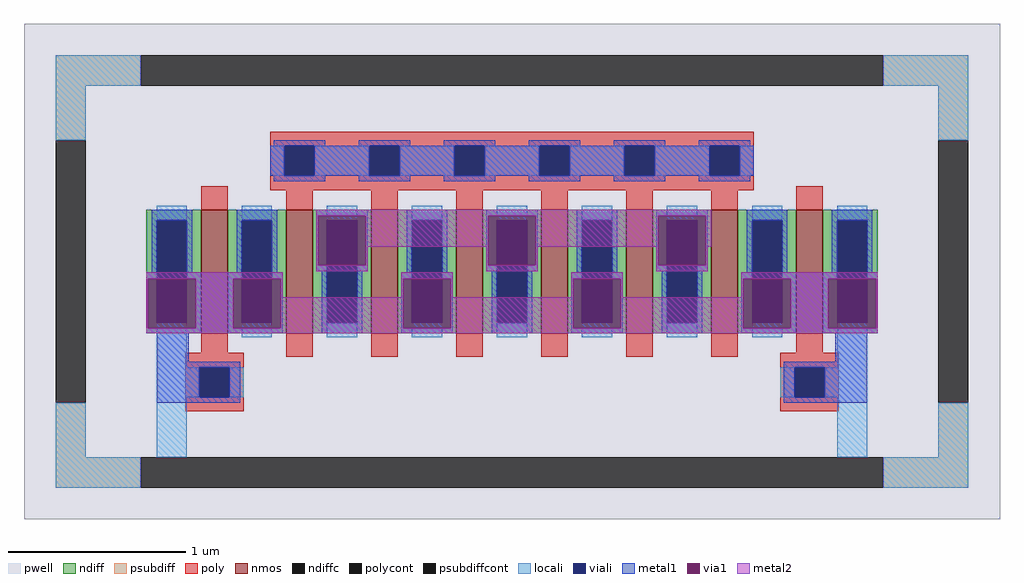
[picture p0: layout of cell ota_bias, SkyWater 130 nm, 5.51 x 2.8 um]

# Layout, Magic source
magic
tech sky130A
magscale 1 2
<< pwell >>
rect -551 -280 551 280
<< nmos >>
rect -351 -70 -321 70
rect -255 -70 -225 70
rect -159 -70 -129 70
rect -63 -70 -33 70
rect 33 -70 63 70
rect 129 -70 159 70
rect 225 -70 255 70
rect 321 -70 351 70
<< ndiff >>
rect -413 58 -351 70
rect -413 -58 -401 58
rect -367 -58 -351 58
rect -413 -70 -351 -58
rect -321 58 -255 70
rect -321 -58 -305 58
rect -271 -58 -255 58
rect -321 -70 -255 -58
rect -225 58 -159 70
rect -225 -58 -209 58
rect -175 -58 -159 58
rect -225 -70 -159 -58
rect -129 58 -63 70
rect -129 -58 -113 58
rect -79 -58 -63 58
rect -129 -70 -63 -58
rect -33 58 33 70
rect -33 -58 -17 58
rect 17 -58 33 58
rect -33 -70 33 -58
rect 63 58 129 70
rect 63 -58 79 58
rect 113 -58 129 58
rect 63 -70 129 -58
rect 159 58 225 70
rect 159 -58 175 58
rect 209 -58 225 58
rect 159 -70 225 -58
rect 255 58 321 70
rect 255 -58 271 58
rect 305 -58 321 58
rect 255 -70 321 -58
rect 351 58 413 70
rect 351 -58 367 58
rect 401 -58 413 58
rect 351 -70 413 -58
<< ndiffc >>
rect -401 -58 -367 58
rect -305 -58 -271 58
rect -209 -58 -175 58
rect -113 -58 -79 58
rect -17 -58 17 58
rect 79 -58 113 58
rect 175 -58 209 58
rect 271 -58 305 58
rect 367 -58 401 58
<< psubdiff >>
rect -515 210 -419 244
rect 419 210 515 244
rect -515 148 -481 210
rect 481 148 515 210
rect -515 -210 -481 -148
rect 481 -210 515 -148
rect -515 -244 -419 -210
rect 419 -244 515 -210
<< psubdiffcont >>
rect -419 210 419 244
rect -515 -148 -481 148
rect 481 -148 515 148
rect -419 -244 419 -210
<< poly >>
rect -273 142 273 158
rect -273 108 -257 142
rect -223 108 -161 142
rect -127 108 -65 142
rect -31 108 31 142
rect 65 108 127 142
rect 161 108 223 142
rect 257 108 273 142
rect -351 70 -321 96
rect -273 92 273 108
rect -255 70 -225 92
rect -159 70 -129 92
rect -63 70 -33 92
rect 33 70 63 92
rect 129 70 159 92
rect 225 70 255 92
rect 321 70 351 96
rect -351 -92 -321 -70
rect -369 -108 -303 -92
rect -255 -96 -225 -70
rect -159 -96 -129 -70
rect -63 -96 -33 -70
rect 33 -96 63 -70
rect 129 -96 159 -70
rect 225 -96 255 -70
rect 321 -92 351 -70
rect -369 -142 -353 -108
rect -319 -142 -303 -108
rect -369 -158 -303 -142
rect 303 -108 369 -92
rect 303 -142 319 -108
rect 353 -142 369 -108
rect 303 -158 369 -142
<< polycont >>
rect -257 108 -223 142
rect -161 108 -127 142
rect -65 108 -31 142
rect 31 108 65 142
rect 127 108 161 142
rect 223 108 257 142
rect -353 -142 -319 -108
rect 319 -142 353 -108
<< locali >>
rect -515 210 -419 244
rect 419 210 515 244
rect -515 148 -481 210
rect 481 148 515 210
rect -273 108 -257 142
rect -223 108 -161 142
rect -127 108 -65 142
rect -31 108 31 142
rect 65 108 127 142
rect 161 108 223 142
rect 257 108 273 142
rect -515 -210 -481 -148
rect -401 58 -367 74
rect -401 -108 -367 -58
rect -305 58 -271 74
rect -305 -74 -271 -58
rect -209 58 -175 74
rect -209 -74 -175 -58
rect -113 58 -79 74
rect -113 -74 -79 -58
rect -17 58 17 74
rect -17 -74 17 -58
rect 79 58 113 74
rect 79 -74 113 -58
rect 175 58 209 74
rect 175 -74 209 -58
rect 271 58 305 74
rect 271 -74 305 -58
rect 367 58 401 74
rect 367 -108 401 -58
rect -401 -142 -353 -108
rect -319 -142 -303 -108
rect 303 -142 319 -108
rect 353 -142 401 -108
rect -401 -210 -367 -142
rect 367 -210 401 -142
rect 481 -210 515 -148
rect -515 -244 -419 -210
rect 419 -244 515 -210
<< viali >>
rect -257 108 -223 142
rect -161 108 -127 142
rect -65 108 -31 142
rect 31 108 65 142
rect 127 108 161 142
rect 223 108 257 142
rect -401 -58 -367 58
rect -305 -58 -271 58
rect -209 -58 -175 58
rect -113 -58 -79 58
rect -17 -58 17 58
rect 79 -58 113 58
rect 175 -58 209 58
rect 271 -58 305 58
rect 367 -58 401 58
rect -353 -142 -319 -108
rect 319 -142 353 -108
<< metal1 >>
rect -269 142 -211 148
rect -173 142 -115 148
rect -77 142 -19 148
rect 19 142 77 148
rect 115 142 173 148
rect 211 142 269 148
rect -273 108 -257 142
rect -223 108 -161 142
rect -127 108 -65 142
rect -31 108 31 142
rect 65 108 127 142
rect 161 108 223 142
rect 257 108 273 142
rect -269 102 -211 108
rect -173 102 -115 108
rect -77 102 -19 108
rect 19 102 77 108
rect 115 102 173 108
rect 211 102 269 108
rect -407 58 -361 70
rect -407 -1 -401 58
rect -413 -8 -401 -1
rect -367 -1 -361 58
rect -311 58 -265 70
rect -311 -1 -305 58
rect -367 -8 -305 -1
rect -271 -1 -265 58
rect -221 63 -163 70
rect -221 7 -219 63
rect -165 7 -163 63
rect -221 0 -209 7
rect -271 -8 -259 -1
rect -413 -64 -411 -8
rect -357 -64 -315 -8
rect -261 -64 -259 -8
rect -413 -70 -259 -64
rect -215 -58 -209 0
rect -175 0 -163 7
rect -119 58 -73 70
rect -175 -58 -169 0
rect -119 -1 -113 58
rect -215 -70 -169 -58
rect -125 -8 -113 -1
rect -79 -1 -73 58
rect -29 63 29 70
rect -29 7 -27 63
rect 27 7 29 63
rect -29 0 -17 7
rect -79 -8 -67 -1
rect -125 -64 -123 -8
rect -69 -64 -67 -8
rect -125 -70 -67 -64
rect -23 -58 -17 0
rect 17 0 29 7
rect 73 58 119 70
rect 17 -58 23 0
rect 73 -1 79 58
rect -23 -70 23 -58
rect 67 -8 79 -1
rect 113 -1 119 58
rect 163 63 221 70
rect 163 7 165 63
rect 219 7 221 63
rect 163 0 175 7
rect 113 -8 125 -1
rect 67 -64 69 -8
rect 123 -64 125 -8
rect 67 -70 125 -64
rect 169 -58 175 0
rect 209 0 221 7
rect 265 58 311 70
rect 209 -58 215 0
rect 265 -1 271 58
rect 169 -70 215 -58
rect 259 -8 271 -1
rect 305 -1 311 58
rect 361 58 407 70
rect 361 -1 367 58
rect 305 -8 367 -1
rect 401 -1 407 58
rect 401 -8 413 -1
rect 259 -64 261 -8
rect 315 -64 357 -8
rect 411 -64 413 -8
rect 259 -70 413 -64
rect -401 -102 -365 -70
rect 365 -102 401 -70
rect -401 -108 -307 -102
rect -401 -142 -353 -108
rect -319 -142 -307 -108
rect -401 -148 -307 -142
rect 307 -108 401 -102
rect 307 -142 319 -108
rect 353 -142 401 -108
rect 307 -148 401 -142
<< via1 >>
rect -219 58 -165 63
rect -219 7 -209 58
rect -209 7 -175 58
rect -175 7 -165 58
rect -411 -58 -401 -8
rect -401 -58 -367 -8
rect -367 -58 -357 -8
rect -411 -64 -357 -58
rect -315 -58 -305 -8
rect -305 -58 -271 -8
rect -271 -58 -261 -8
rect -315 -64 -261 -58
rect -27 58 27 63
rect -27 7 -17 58
rect -17 7 17 58
rect 17 7 27 58
rect -123 -58 -113 -8
rect -113 -58 -79 -8
rect -79 -58 -69 -8
rect -123 -64 -69 -58
rect 165 58 219 63
rect 165 7 175 58
rect 175 7 209 58
rect 209 7 219 58
rect 69 -58 79 -8
rect 79 -58 113 -8
rect 113 -58 123 -8
rect 69 -64 123 -58
rect 261 -58 271 -8
rect 271 -58 305 -8
rect 305 -58 315 -8
rect 261 -64 315 -58
rect 357 -58 367 -8
rect 367 -58 401 -8
rect 401 -58 411 -8
rect 357 -64 411 -58
<< metal2 >>
rect -221 63 225 70
rect -221 7 -219 63
rect -165 28 -27 63
rect -165 7 -163 28
rect -221 0 -163 7
rect -29 7 -27 28
rect 27 28 165 63
rect 27 7 29 28
rect -29 0 29 7
rect 163 7 165 28
rect 219 28 225 63
rect 219 7 221 28
rect 163 0 221 7
rect -413 -8 -259 -1
rect -413 -64 -411 -8
rect -357 -64 -315 -8
rect -261 -29 -259 -8
rect -125 -8 -67 -1
rect -125 -29 -123 -8
rect -261 -64 -123 -29
rect -69 -29 -67 -8
rect 67 -8 125 -1
rect 67 -29 69 -8
rect -69 -64 69 -29
rect 123 -29 125 -8
rect 259 -8 413 -1
rect 259 -29 261 -8
rect 123 -64 261 -29
rect 315 -64 357 -8
rect 411 -64 413 -8
rect -413 -70 413 -64
<< properties >>
string FIXED_BBOX -498 -227 498 227
string gencell sky130_fd_pr__nfet_01v8
string library sky130
string parameters w 0.7 l 0.150 m 1 nf 8 diffcov 100 polycov 100 guard 1 glc 1 grc 1 gtc 1 gbc 1 tbcov 100 rlcov 100 topc 1 botc 1 poverlap 0 doverlap 1 lmin 0.15 wmin 0.42 compatible {sky130_fd_pr__nfet_01v8 sky130_fd_pr__nfet_01v8_lvt  sky130_fd_bs_flash__special_sonosfet_star  sky130_fd_pr__nfet_g5v0d10v5 sky130_fd_pr__nfet_05v0_nvt  sky130_fd_pr__nfet_03v3_nvt} full_metal 1 viasrc 100 viadrn 100 viagate 100 viagb 0 viagr 0 viagl 0 viagt 0
<< end >>
